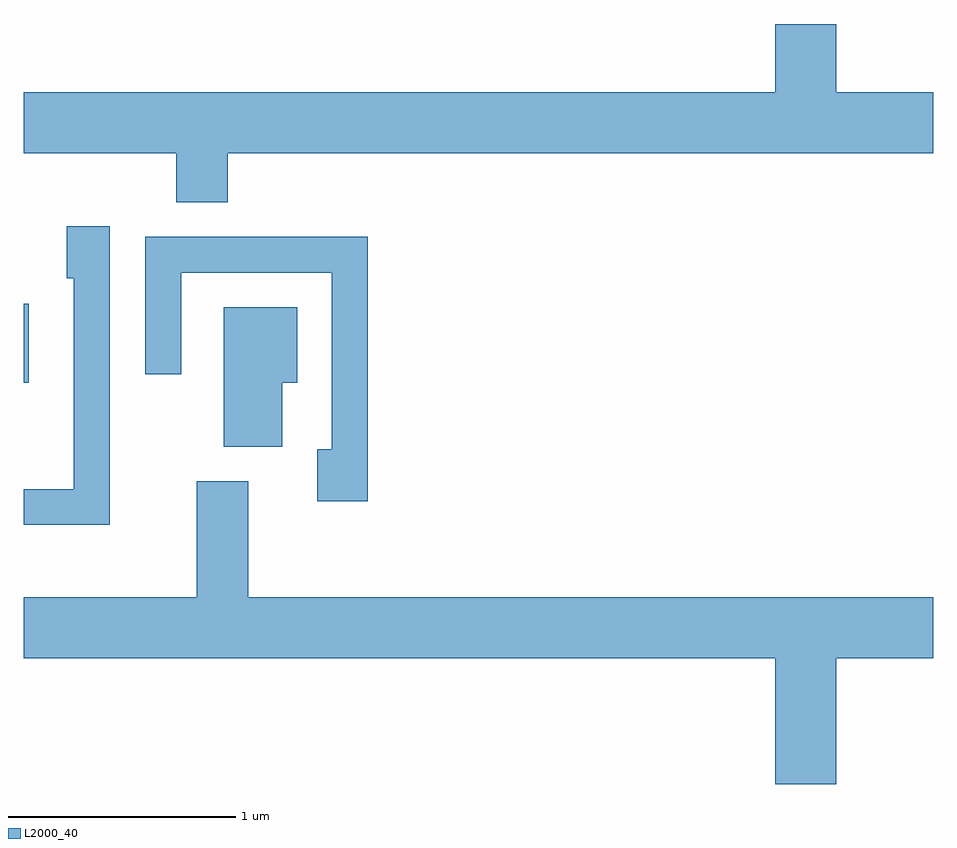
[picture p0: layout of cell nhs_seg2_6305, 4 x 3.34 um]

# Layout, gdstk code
import gdstk
lib = gdstk.Library(unit=1e-6, precision=1e-09)
def R(c, l, rs):  # rectangles x0, y0, x1, y1
    for r in rs: c.add(gdstk.rectangle(r[:2], r[2:], *l))
def P(c, l, *ps):  # polygons
    for p in ps: c.add(gdstk.Polygon(p, *l))
L2000_40 = (2000, 40)

nhs_seg2_6305 = lib.new_cell('nhs_seg2_6305')
R(nhs_seg2_6305, L2000_40, [(371.611,1009.566,371.634,1009.914)])
P(nhs_seg2_6305, L2000_40, [(372.509,1010.576),(375.611,1010.576),(375.611,1010.844),(375.184,1010.844),(375.184,1011.144),(374.916,1011.144),(374.916,1010.844),(371.611,1010.844),(371.611,1010.576),(372.281,1010.576),(372.281,1010.361),(372.509,1010.361)],
  [(371.989,1010.254),(371.801,1010.254),(371.801,1010.026),(371.831,1010.026),(371.831,1009.099),(371.611,1009.099),(371.611,1008.941),(371.989,1008.941)],
  [(373.124,1010.209),(372.146,1010.209),(372.146,1009.603),(372.304,1009.603),(372.304,1010.051),(372.966,1010.051),(372.966,1009.274),(372.901,1009.274),(372.901,1009.046),(373.124,1009.046)],
  [(372.749,1009.566),(372.814,1009.566),(372.814,1009.899),(372.491,1009.899),(372.491,1009.286),(372.749,1009.286)],
  [(375.184,1008.356),(375.611,1008.356),(375.611,1008.624),(372.599,1008.624),(372.599,1009.134),(372.371,1009.134),(372.371,1008.624),(371.611,1008.624),(371.611,1008.356),(374.916,1008.356),(374.916,1007.802),(375.184,1007.802)])

lib.write_gds('nhs_seg2_6305.gds')
